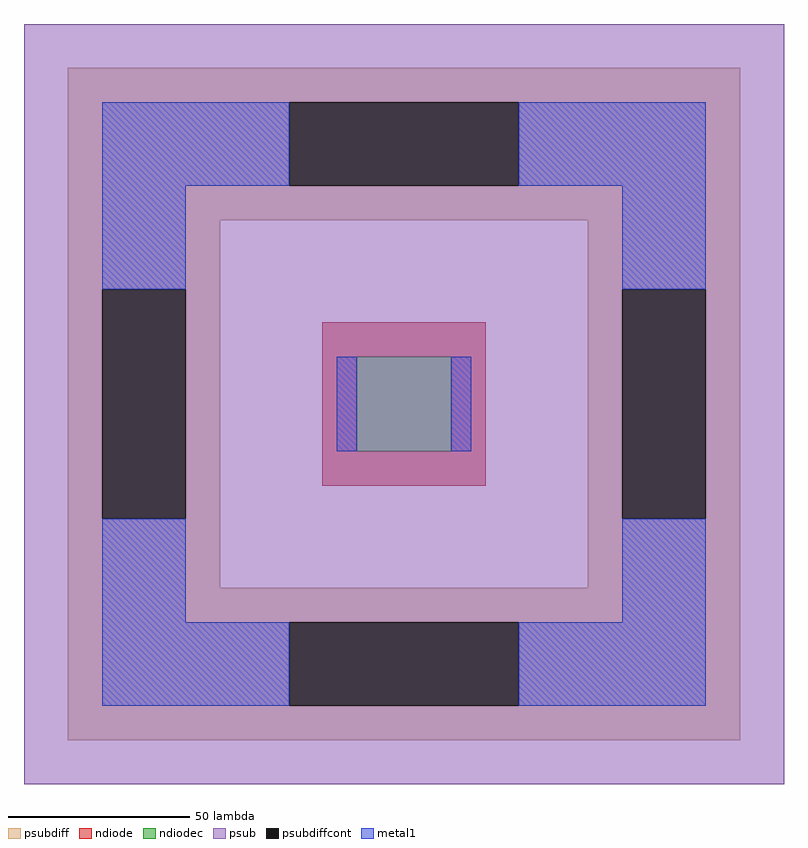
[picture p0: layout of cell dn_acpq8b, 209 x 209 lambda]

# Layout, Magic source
magic
tech EFXH018D
magscale 1 2
<< psub >>
rect -209 -209 209 209
<< psubdiff >>
rect -185 166 185 185
rect -185 120 -63 166
rect 63 120 185 166
rect -185 101 185 120
rect -185 63 -101 101
rect -185 -63 -166 63
rect -120 -63 -101 63
rect 101 63 185 101
rect -185 -101 -101 -63
rect 101 -63 120 63
rect 166 -63 185 63
rect 101 -101 185 -63
rect -185 -120 185 -101
rect -185 -166 -63 -120
rect 63 -166 185 -120
rect -185 -185 185 -166
<< psubdiffcont >>
rect -63 120 63 166
rect -166 -63 -120 63
rect 120 -63 166 63
rect -63 -166 63 -120
<< ndiode >>
rect -45 26 45 45
rect -45 -26 -26 26
rect 26 -26 45 26
rect -45 -45 45 -26
<< ndiodec >>
rect -26 -26 26 26
<< metal1 >>
rect -166 120 -63 166
rect 63 120 166 166
rect -166 63 -120 120
rect 120 63 166 120
rect -37 -26 -26 26
rect 26 -26 37 26
rect -166 -120 -120 -63
rect 120 -120 166 -63
rect -166 -166 -63 -120
rect 63 -166 166 -120
<< properties >>
string parameters w 0.45 l 0.45 area 202.5m peri 1.8 nx 1 ny 1 dummy 0 lmin 0.45 wmin 0.45 elc 1 erc 1 etc 1 ebc 1 doverlap 0 full_metal 1
string gencell dn
string library efxh018
<< end >>
